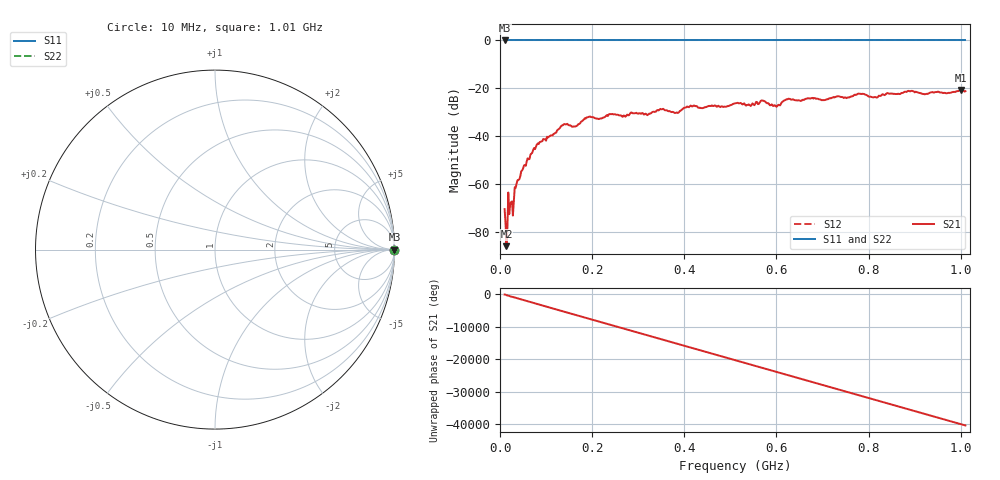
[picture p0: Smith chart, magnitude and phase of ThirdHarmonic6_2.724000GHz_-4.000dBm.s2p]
! 8/17/2025 6:39:26 AM
! C:\ANRITSUVNA\TEMP\TEMP.S2P
! CHANNEL.1
! TR.MEASUREMENT
! RAW.DATA
! RF.CORRECTION.OFF
! AVERAGING.OFF
! IF.BANDWIDTH: 5KHZ
! SWEEPTYPE:  FREQ.SWEEP(Linear)
! Reference Plane Port Info
! PORT:  PORT1  PORT2
! DISTANCE:  0  m  0  m
! TIME:  0  s  0  s
! PHASE.OFFSET:  0  deg.  0  deg.
! LOSS:  0  dB  0  dB
! REF.LOSS:  0  dB  0  dB
! REF.FREQ:  0  Hz  0  Hz
! Power Info
! POWER:  -20  dBm  -20  dBm
! EFF.POWER:  -20  dBm  -20  dBm
! SOURCE.ATTEN:  0  dB  0  dB
! TEST.ATTEN:  0  dB  0  dB
# GHZ S RI R 50.0
! FREQ.GHZ  S11RE  S11IM  S21RE  S21IM  S12RE  S12IM  S22RE  S22IM
!; PortSelection: Port_12
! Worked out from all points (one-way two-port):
!   501 points, 10 MHz to 1.01 GHz, reference 50 ohm
!   highest |S21| = -20.64 dB at 1 GHz (marker M1); lowest = -86.0 dB at 14 MHz (marker M2)
!   lowest |S11| = 0.0 dB at 10 MHz (marker M3)
!   |S11| at or under -10 dB: nowhere
!   |S22| runs from 0.0 to 0.0 dB; largest |S21 - S12| = 1.1
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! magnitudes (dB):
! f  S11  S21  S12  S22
! 10 MHz  0.0  -70.5  0.0  0.0
! 14 MHz  0.0  -86.0  0.0  0.0
! 16 MHz  0.0  -78.7  0.0  0.0
! 22 MHz  0.0  -68.7  0.0  0.0
! 26 MHz  0.0  -67.3  0.0  0.0
! 36 MHz  0.0  -59.9  0.0  0.0
! 50 MHz  0.0  -53.6  0.0  0.0
! 78 MHz  0.0  -44.4  0.0  0.0
! 136 MHz  0.0  -35.5  0.0  0.0
! 162 MHz  0.0  -36.0  0.0  0.0
! 178 MHz  0.0  -33.7  0.0  0.0
! 344 MHz  0.0  -29.2  0.0  0.0
! 384 MHz  0.0  -30.1  0.0  0.0
! 416 MHz  0.0  -27.5  0.0  0.0
! 510 MHz  0.0  -26.3  0.0  0.0
! 570 MHz  0.0  -25.1  0.0  0.0
! 598 MHz  0.0  -27.4  0.0  0.0
! 624 MHz  0.0  -24.6  0.0  0.0
! 678 MHz  0.0  -24.0  0.0  0.0
! 844 MHz  0.0  -22.2  0.0  0.0
! 1 GHz  0.0  -20.6  0.0  0.0
! 1.01 GHz  0.0  -21.2  0.0  0.0
